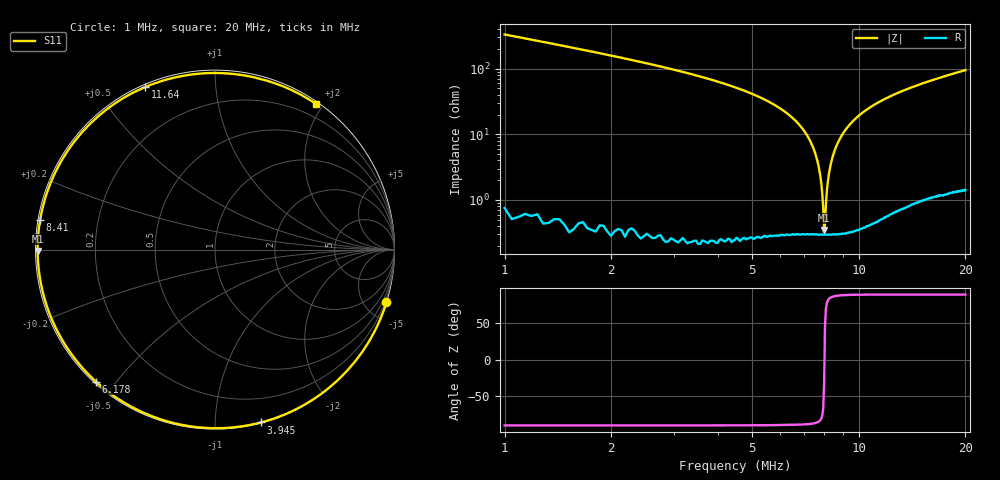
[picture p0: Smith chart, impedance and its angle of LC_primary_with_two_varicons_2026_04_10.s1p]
# HZ S RI R 50
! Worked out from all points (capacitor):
!   401 points, 1 MHz to 20 MHz, reference 50 ohm
!   read as one part to ground: C = 471 pF near 1.095 MHz
!   lowest |Z| = 350 mohm at 7.982 MHz (marker M1)
!   series resonance near 8 MHz, so ESL is about 840 nH
!   S11 on the Smith chart (normalised r, x): 1 MHz: 0.02, -6.65; 3.945 MHz: 0.00, -1.30; 6.178 MHz: 0.01, -0.44; 8.41 MHz: 0.01, +0.09; 11.64 MHz: 0.01, +0.66; 20 MHz: 0.03, +1.90
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1000000  0.9552 -0.2937
1570000  0.8891 -0.456
2187500  0.7815 -0.622
2805000  0.6341 -0.7709
3375000  0.4614 -0.8844
3945000  0.2561 -0.9632
4420000  0.0637 -0.9935
4895000  -0.1401 -0.9842
5322500  -0.3254 -0.938
5750000  -0.5028 -0.8545
6177500  -0.663 -0.7358
6652500  -0.8095 -0.5685
7080000  -0.9061 -0.3956
7507500  -0.9653 -0.2118
7982500  -0.9882 -0.00739
8125000  -0.9868 0.0522
8410000  -0.9739 0.1675
8885000  -0.9267 0.3436
9455000  -0.8379 0.5238
9977500  -0.7376 0.6573
1.05e7  -0.628 0.7616
1.10225e7  -0.5165 0.8407
1.164e7  -0.3874 0.9064
1.2875e7  -0.1536 0.9724
1.4015e7  0.0269 0.9835
1.525e7  0.1864 0.9663
1.7625e7  0.4106 0.8963
2e7  0.5608 0.8131
